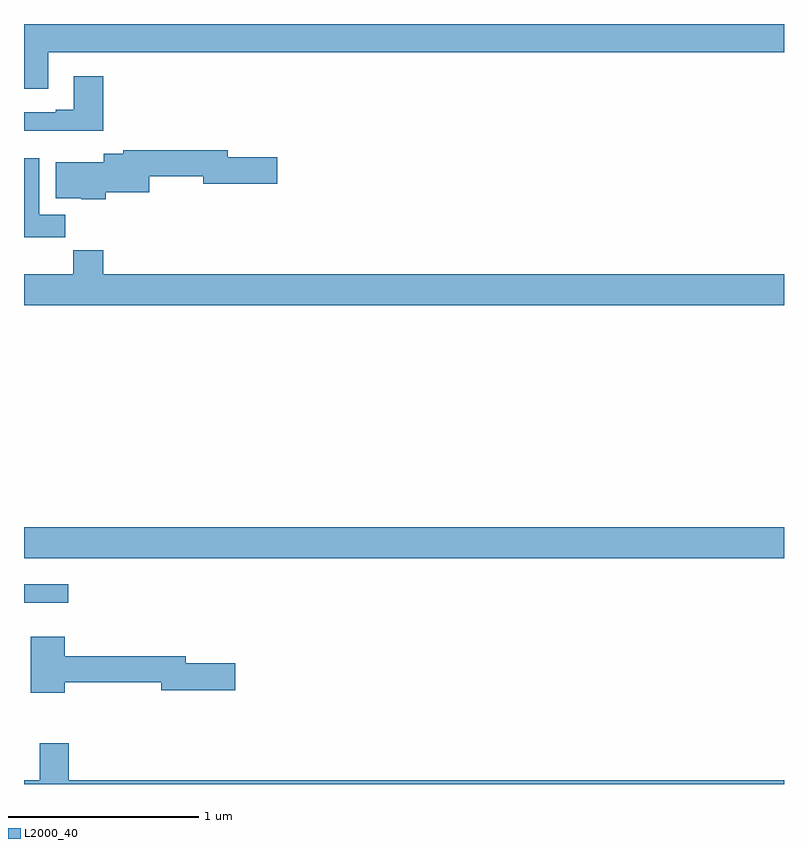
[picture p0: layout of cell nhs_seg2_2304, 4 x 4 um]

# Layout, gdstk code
import gdstk
lib = gdstk.Library(unit=1e-6, precision=1e-09)
def R(c, l, rs):  # rectangles x0, y0, x1, y1
    for r in rs: c.add(gdstk.rectangle(r[:2], r[2:], *l))
def P(c, l, *ps):  # polygons
    for p in ps: c.add(gdstk.Polygon(p, *l))
L2000_40 = (2000, 40)

nhs_seg2_2304 = lib.new_cell('nhs_seg2_2304')
R(nhs_seg2_2304, L2000_40, [(231,628.755,231.232,628.852), (231,628.988,235,629.152)])
P(nhs_seg2_2304, L2000_40, [(231.127,631.652),(235,631.652),(235,631.8),(231,631.8),(231,631.458),(231.127,631.458)],
  [(231.416,631.525),(231.263,631.525),(231.263,631.348),(231.167,631.348),(231.167,631.335),(231,631.335),(231,631.238),(231.416,631.238)],
  [(231.431,630.914),(231.658,630.914),(231.658,631),(231.944,631),(231.944,630.958),(232.333,630.958),(232.333,631.1),(232.072,631.1),(232.072,631.136),(231.523,631.136),(231.523,631.117),(231.419,631.117),(231.419,631.072),(231.167,631.072),(231.167,630.884),(231.3,630.884),(231.3,630.878),(231.431,630.878)],
  [(231.218,630.796),(231.079,630.796),(231.079,631.093),(231,631.093),(231,630.678),(231.218,630.678)],
  [(235,630.484),(231.416,630.484),(231.416,630.608),(231.259,630.608),(231.259,630.484),(231,630.484),(231,630.32),(235,630.32)],
  [(231.214,628.336),(231.722,628.336),(231.722,628.294),(232.111,628.294),(232.111,628.436),(231.85,628.436),(231.85,628.472),(231.214,628.472),(231.214,628.576),(231.035,628.576),(231.035,628.28),(231.214,628.28)],
  [(235,627.82),(231.236,627.82),(231.236,628.015),(231.083,628.015),(231.083,627.82),(231,627.82),(231,627.8),(235,627.8)])

lib.write_gds('nhs_seg2_2304.gds')
